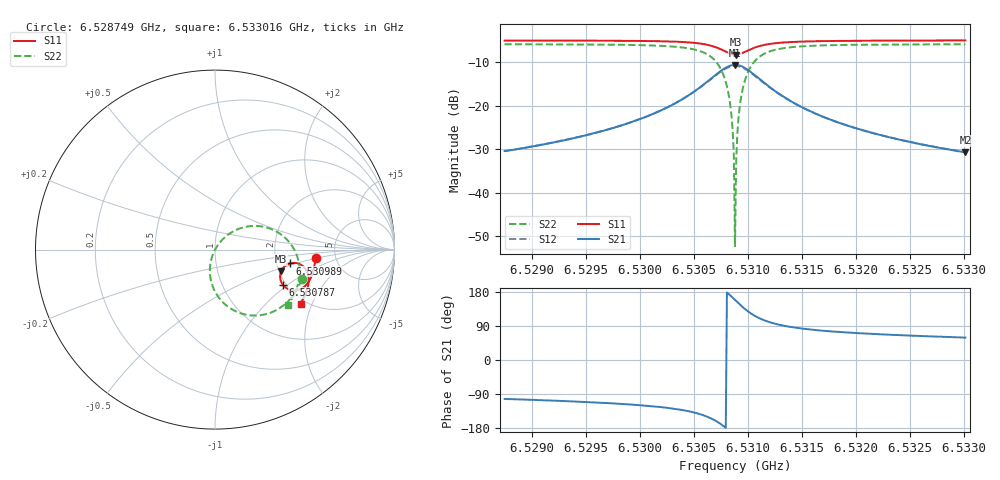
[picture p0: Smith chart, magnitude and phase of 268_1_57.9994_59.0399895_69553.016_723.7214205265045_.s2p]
#  HZ  S  RI  R  50.00
! Rohde & Schwarz Vector Network Analyzer
! Rohde-Schwarz,ZNB20-2Port,1311601062101988,3.16
! Created: UTC 3/21/2024, 1:02:15 AM
! freq[Hz]  re:S11  im:S11  re:S21  im:S21  re:S12  im:S12  re:S22  im:S22
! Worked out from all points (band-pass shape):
!   401 points, 6.528749 GHz to 6.533016 GHz, reference 50 ohm
!   highest |S21| = -10.58 dB at 6.530883 GHz (marker M1); lowest = -30.7 dB at 6.533016 GHz (marker M2)
!   |S21| within 3 dB of the highest: 6.53067 GHz to 6.531097 GHz (427 kHz wide, 0.00654 % of centre)
!   lowest |S11| = -8.2 dB at 6.530893 GHz (marker M3), VSWR 2.27, Z = 103 - j29.3 ohm
!   |S11| at or under -10 dB: nowhere
!   |S22| runs from -52.3 to -5.8 dB; largest |S21 - S12| = 0.011
!   S11 on the Smith chart (normalised r, x): 6.528749 GHz: 3.50, -0.47; 6.530787 GHz: 1.93, -0.92; 6.530989 GHz: 2.38, -0.45; 6.533016 GHz: 1.87, -1.65
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6.5287495e9  0.5603 -0.0464  -0.00669 -0.0294  -0.00719 -0.0291  0.4839 -0.1626
6.5294641e9  0.551 -0.1055  -0.0156 -0.0417  -0.0166 -0.0414  0.4538 -0.2271
6.5301788e9  0.5242 -0.1758  -0.0479 -0.0716  -0.05 -0.0704  0.3749 -0.3163
6.5306054e9  0.4559 -0.2262  -0.1521 -0.0973  -0.1543 -0.0912  0.175 -0.363
6.5307121e9  0.4121 -0.2219  -0.2192 -0.0719  -0.2187 -0.0629  0.0617 -0.3098
6.5307868e9  0.3781 -0.1961  -0.2689 -0.0157  -0.2636 -0.00613  -0.0122 -0.2066
6.5308401e9  0.3637 -0.1615  -0.2854 0.0497  -0.2765 0.0568  -0.0278 -0.0957
6.5308508e9  0.3629 -0.1534  -0.2851 0.0643  -0.2757 0.0707  -0.0246 -0.0719
6.5308614e9  0.363 -0.1452  -0.2833 0.079  -0.2734 0.0847  -0.019 -0.048
6.5308721e9  0.364 -0.1371  -0.28 0.0937  -0.2698 0.0983  -0.0109 -0.0249
6.5308828e9  0.3658 -0.1291  -0.2753 0.1081  -0.2648 0.1118  -0.000681 -0.00233
6.5308934e9  0.3684 -0.1213  -0.2692 0.1218  -0.2588 0.1246  0.0118 0.0191
6.5309041e9  0.3721 -0.1138  -0.2617 0.1349  -0.2513 0.1368  0.0263 0.0389
6.5309148e9  0.3764 -0.1068  -0.2529 0.147  -0.2429 0.148  0.0426 0.0572
6.5309254e9  0.3812 -0.1004  -0.2434 0.1581  -0.2335 0.1583  0.0603 0.0737
6.5309468e9  0.3925 -0.0897  -0.222 0.1768  -0.213 0.1757  0.0991 0.1003
6.5309894e9  0.4185 -0.0769  -0.1749 0.1992  -0.1681 0.1966  0.1803 0.1288
6.5310641e9  0.4602 -0.0766  -0.1022 0.2015  -0.0986 0.1988  0.3019 0.1186
6.5311707e9  0.4963 -0.0983  -0.0395 0.172  -0.0378 0.1704  0.4028 0.0535
6.5315974e9  0.5222 -0.177  0.0149 0.0833  0.0159 0.0829  0.4716 -0.1328
6.532312e9  0.5034 -0.2492  0.0171 0.0398  0.0179 0.0396  0.4428 -0.2471
6.533016e9  0.4767 -0.3016  0.0149 0.0251  0.0155 0.0248  0.4075 -0.3072
